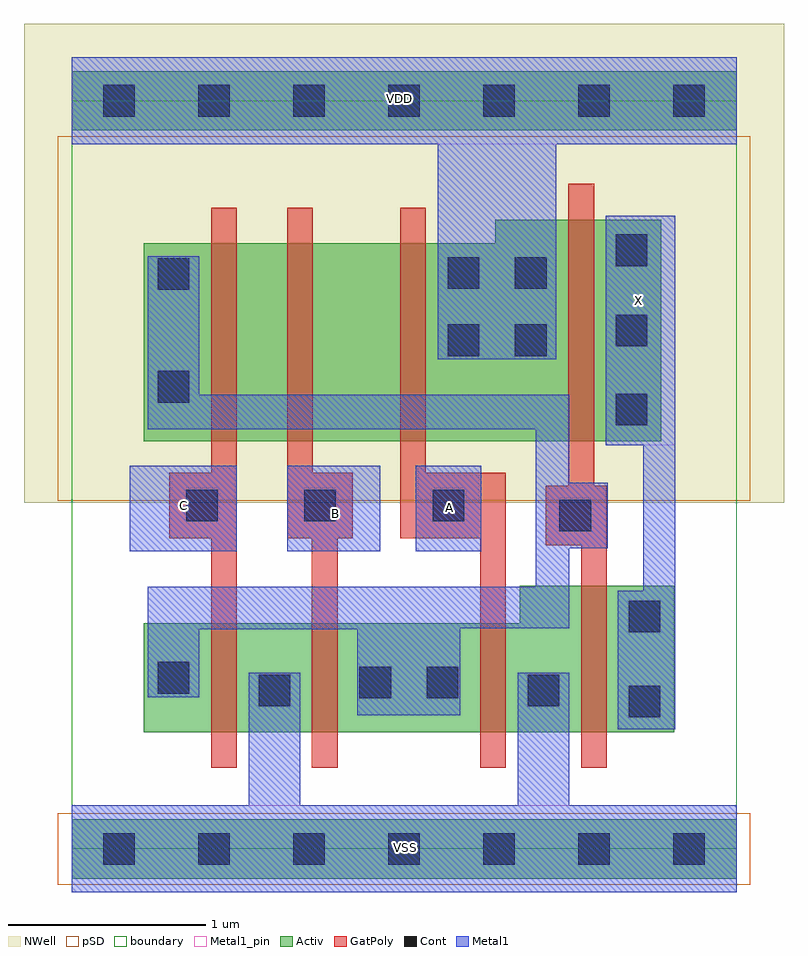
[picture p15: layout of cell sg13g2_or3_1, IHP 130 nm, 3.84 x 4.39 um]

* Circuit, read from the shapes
.subckt sg13g2_or3_1 A B C VDD VSS X
XM1 VSS C n1 VSS sg13_lv_nmos w=0.55u l=0.13u
XM2 n1 B VSS VSS sg13_lv_nmos w=0.55u l=0.13u
XM3 VSS A n1 VSS sg13_lv_nmos w=0.55u l=0.13u
XM4 X n1 VSS VSS sg13_lv_nmos w=0.74u l=0.13u
XM5 n2 C n1 VDD sg13_lv_pmos w=1u l=0.13u
XM6 n3 B n2 VDD sg13_lv_pmos w=1u l=0.13u
XM7 VDD A n3 VDD sg13_lv_pmos w=1u l=0.13u
XM8 X n1 VDD VDD sg13_lv_pmos w=1.12u l=0.13u
.ends

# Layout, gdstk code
import gdstk
lib = gdstk.Library(unit=1e-6, precision=1e-09)
def R(c, l, rs):  # rectangles x0, y0, x1, y1
    for r in rs: c.add(gdstk.rectangle(r[:2], r[2:], *l))
def P(c, l, *ps):  # polygons
    for p in ps: c.add(gdstk.Polygon(p, *l))
Activ = (1, 0)
GatPoly = (5, 0)
Cont = (6, 0)
Metal1 = (8, 0)
Metal1_pin = (8, 2)
pSD = (14, 0)
NWell = (31, 0)
boundary = (189, 4)

sg13g2_or3_1 = lib.new_cell('sg13g2_or3_1')
R(sg13g2_or3_1, Activ, [(0,-0.15,3.36,0.15), (0,3.63,3.36,3.93)])
P(sg13g2_or3_1, Activ, [(0.365,0.59),(0.365,1.14),(2.265,1.14),(2.265,1.33),(3.045,1.33),(3.045,0.59)],
  [(0.365,2.06),(0.365,3.06),(2.14,3.06),(2.14,3.18),(2.98,3.18),(2.98,2.06)])
P(sg13g2_or3_1, GatPoly, [(2.575,0.41),(2.575,1.535),(2.395,1.535),(2.395,1.835),(2.51,1.835),(2.51,3.36),(2.64,3.36),(2.64,1.835),(2.705,1.835),(2.705,0.41)],
  [(2.065,0.41),(2.065,1.57),(1.66,1.57),(1.66,3.24),(1.79,3.24),(1.79,1.9),(2.195,1.9),(2.195,0.41)],
  [(1.215,0.41),(1.215,1.57),(1.09,1.57),(1.09,3.24),(1.22,3.24),(1.22,1.9),(1.42,1.9),(1.42,1.57),(1.345,1.57),(1.345,0.41)],
  [(0.705,0.41),(0.705,1.57),(0.495,1.57),(0.495,1.9),(0.705,1.9),(0.705,3.24),(0.835,3.24),(0.835,0.41)])
R(sg13g2_or3_1, Cont, [(0.16,-0.08,0.32,0.08), (0.16,-0.08,0.32,0.08), (0.64,-0.08,0.8,0.08), (0.64,-0.08,0.8,0.08), (1.12,-0.08,1.28,0.08), (1.12,-0.08,1.28,0.08), (1.6,-0.08,1.76,0.08), (1.6,-0.08,1.76,0.08), (2.08,-0.08,2.24,0.08), (2.08,-0.08,2.24,0.08), (2.56,-0.08,2.72,0.08), (2.56,-0.08,2.72,0.08), (3.04,-0.08,3.2,0.08), (3.04,-0.08,3.2,0.08), (2.815,0.665,2.975,0.825), (0.945,0.72,1.105,0.88), (2.305,0.72,2.465,0.88), (1.455,0.76,1.615,0.92), (1.795,0.76,1.955,0.92), (0.435,0.785,0.595,0.945), (2.815,1.095,2.975,1.255), (2.465,1.605,2.625,1.765), (0.58,1.655,0.74,1.815), (1.175,1.655,1.335,1.815), (1.825,1.655,1.985,1.815), (2.75,2.14,2.91,2.3), (0.435,2.255,0.595,2.415), (1.9,2.49,2.06,2.65), (2.24,2.49,2.4,2.65), (2.75,2.54,2.91,2.7), (0.435,2.825,0.595,2.985), (1.9,2.83,2.06,2.99), (2.24,2.83,2.4,2.99), (2.75,2.945,2.91,3.105), (0.16,3.7,0.32,3.86), (0.16,3.7,0.32,3.86), (0.64,3.7,0.8,3.86), (0.64,3.7,0.8,3.86), (1.12,3.7,1.28,3.86), (1.12,3.7,1.28,3.86), (1.6,3.7,1.76,3.86), (1.6,3.7,1.76,3.86), (2.08,3.7,2.24,3.86), (2.08,3.7,2.24,3.86), (2.56,3.7,2.72,3.86), (2.56,3.7,2.72,3.86), (3.04,3.7,3.2,3.86), (3.04,3.7,3.2,3.86)])
R(sg13g2_or3_1, Metal1, [(0.295,1.505,0.835,1.935), (1.09,1.505,1.56,1.935), (1.74,1.505,2.07,1.935)])
P(sg13g2_or3_1, Metal1, [(0,-0.22),(0,0.22),(0.895,0.22),(0.895,0.89),(1.155,0.89),(1.155,0.22),(2.255,0.22),(2.255,0.89),(2.515,0.89),(2.515,0.22),(3.36,0.22),(3.36,-0.22)],
  [(1.85,2.475),(1.85,3.56),(0,3.56),(0,4),(3.36,4),(3.36,3.56),(2.45,3.56),(2.45,2.475)],
  [(1.445,0.675),(1.445,1.11),(0.645,1.11),(0.645,0.765),(0.385,0.765),(0.385,1.325),(2.345,1.325),(2.345,2.12),(0.385,2.12),(0.385,2.995),(0.645,2.995),(0.645,2.295),(2.515,2.295),(2.515,1.85),(2.71,1.85),(2.71,1.52),(2.515,1.52),(2.515,1.115),(1.965,1.115),(1.965,0.675)],
  [(2.76,0.605),(2.76,1.305),(2.89,1.305),(2.89,2.04),(2.7,2.04),(2.7,3.2),(3.05,3.2),(3.05,0.605)])
R(sg13g2_or3_1, Metal1_pin, [(0,-0.22,3.36,0.22), (0.295,1.505,0.835,1.935), (1.09,1.505,1.56,1.935), (1.74,1.505,2.07,1.935), (2.7,2.04,3.05,3.2), (0,3.56,3.36,4)])
R(sg13g2_or3_1, pSD, [(-0.07,-0.18,3.43,0.18), (-0.07,1.76,3.43,3.6)])
R(sg13g2_or3_1, NWell, [(-0.24,1.75,3.6,4.17)])
R(sg13g2_or3_1, boundary, [(0,0,3.36,3.78)])
sg13g2_or3_1.add(gdstk.Label('X', (2.865,2.77), layer=8, texttype=25))
sg13g2_or3_1.add(gdstk.Label('A', (1.91,1.725), layer=8, texttype=25))
sg13g2_or3_1.add(gdstk.Label('B', (1.335,1.695), layer=8, texttype=25))
sg13g2_or3_1.add(gdstk.Label('C', (0.565,1.735), layer=8, texttype=25))
sg13g2_or3_1.add(gdstk.Label('VSS', (1.69,0.005), layer=8, texttype=25))
sg13g2_or3_1.add(gdstk.Label('VDD', (1.655,3.79), layer=8, texttype=25))

lib.write_gds('sg13g2_or3_1.gds')
